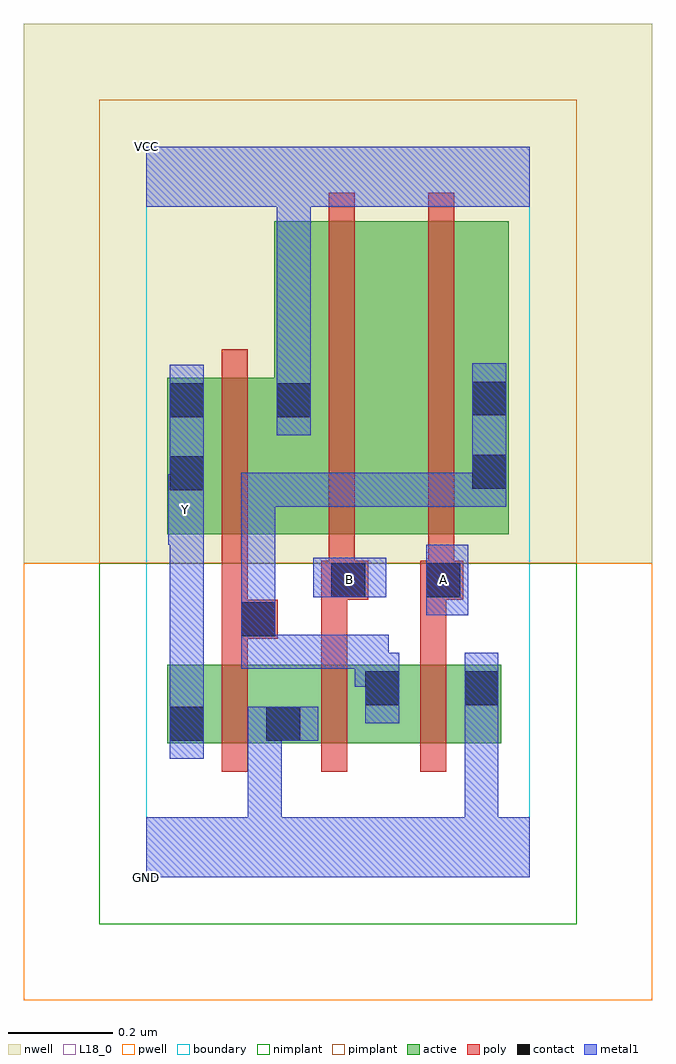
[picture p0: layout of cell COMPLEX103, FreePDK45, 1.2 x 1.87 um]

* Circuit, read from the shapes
.subckt COMPLEX103 A B GND VCC Y
M1 GND n1 Y VSUBS nfet w=0.15u l=0.05u
M2 n1 B GND VSUBS nfet w=0.15u l=0.05u
M3 GND A n1 VSUBS nfet w=0.15u l=0.05u
M4 VCC n1 Y n2 pfet w=0.3u l=0.05u
M5 n3 B VCC n2 pfet w=0.6u l=0.05u
M6 n1 A n3 n2 pfet w=0.6u l=0.05u
.ends

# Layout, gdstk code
import gdstk
lib = gdstk.Library(unit=1e-6, precision=1e-09)
def R(c, l, rs):  # rectangles x0, y0, x1, y1
    for r in rs: c.add(gdstk.rectangle(r[:2], r[2:], *l))
def A(c, l, x, y, w, h, nx, ny, dx, dy):  # array of equal rectangles
    R(c, l, [(x+i*dx, y+j*dy, x+i*dx+w, y+j*dy+h) for i in range(nx) for j in range(ny)])
active = (1, 0)
pwell = (2, 0)
nwell = (3, 0)
nimplant = (4, 0)
pimplant = (5, 0)
poly = (9, 0)
contact = (10, 0)
metal1 = (11, 0)
L18_0 = (18, 0)
boundary = (235, 0)

complex103 = lib.new_cell('COMPLEX103')
R(complex103, active, [(0.04,0.257,0.115,0.407), (0.04,0.257,0.3,0.407), (0.225,0.257,0.49,0.407), (0.225,0.257,0.3,0.397), (0.415,0.257,0.49,0.407), (0.415,0.257,0.68,0.407), (0.605,0.257,0.68,0.407), (0.04,0.657,0.32,0.957), (0.04,0.657,0.115,0.957), (0.245,0.657,0.47,1.257), (0.47,0.657,0.695,1.257), (0.62,0.657,0.695,1.2), (0.245,0.752,0.32,1.095)])
R(complex103, pwell, [(-0.235,-0.235,0.97,0.602)])
R(complex103, nwell, [(-0.235,0.602,0.97,1.635)])
R(complex103, nimplant, [(-0.09,-0.09,0.825,0.602)])
R(complex103, pimplant, [(-0.09,0.602,0.825,1.49)])
A(complex103, poly, 0.145, 0.202, 0.05, 0.26, 3, 1, 0.19, 0)
R(complex103, poly, [(0.145,0.412,0.195,0.507), (0.335,0.412,0.385,0.582), (0.525,0.412,0.575,0.582), (0.145,0.457,0.252,0.532), (0.145,0.482,0.195,0.652), (0.335,0.532,0.425,0.607), (0.525,0.532,0.607,0.607), (0.35,0.557,0.4,0.652), (0.54,0.557,0.59,0.652), (0.145,0.602,0.195,1.012), (0.35,0.602,0.4,1.312), (0.54,0.602,0.59,1.312)])
R(complex103, contact, [(0.045,0.262,0.11,0.327), (0.23,0.262,0.295,0.327), (0.42,0.33,0.485,0.395), (0.61,0.33,0.675,0.395), (0.182,0.462,0.247,0.527), (0.355,0.537,0.42,0.602), (0.537,0.537,0.602,0.602), (0.045,0.742,0.11,0.807), (0.625,0.745,0.69,0.81), (0.045,0.882,0.11,0.947), (0.25,0.882,0.315,0.947), (0.625,0.885,0.69,0.95)])
R(complex103, metal1, [(0,0,0.735,0.115), (0.195,0.05,0.26,0.327), (0.61,0.05,0.675,0.115), (0.61,0.05,0.675,0.115), (0.61,0.05,0.675,0.115), (0.61,0.05,0.675,0.115), (0.61,0.05,0.675,0.36), (0.045,0.227,0.11,0.362), (0.195,0.262,0.26,0.327), (0.195,0.262,0.26,0.327), (0.195,0.262,0.26,0.327), (0.195,0.262,0.26,0.327), (0.195,0.262,0.33,0.327), (0.42,0.295,0.485,0.43), (0.61,0.295,0.675,0.43), (0.045,0.297,0.11,0.702), (0.4,0.365,0.485,0.43), (0.4,0.365,0.465,0.465), (0.182,0.4,0.247,0.465), (0.182,0.4,0.465,0.465), (0.182,0.4,0.247,0.492), (0.182,0.427,0.247,0.492), (0.182,0.427,0.247,0.492), (0.182,0.427,0.247,0.562), (0.182,0.427,0.247,0.775), (0.537,0.502,0.617,0.637), (0.32,0.537,0.46,0.612), (0.042,0.637,0.11,0.772), (0.045,0.707,0.11,0.772), (0.045,0.707,0.11,0.982), (0.182,0.71,0.247,0.775), (0.182,0.71,0.465,0.775), (0.4,0.71,0.465,0.775), (0.4,0.71,0.465,0.775), (0.4,0.71,0.465,0.775), (0.4,0.71,0.69,0.775), (0.625,0.71,0.69,0.775), (0.625,0.71,0.69,0.775), (0.625,0.71,0.69,0.985), (0.25,0.847,0.315,0.982), (0.25,0.917,0.315,1.35), (0,1.285,0.735,1.4)])
R(complex103, L18_0, [(0,0,0.735,0.115), (0.195,0.05,0.26,0.327), (0.61,0.05,0.675,0.115), (0.61,0.05,0.675,0.115), (0.61,0.05,0.675,0.115), (0.61,0.05,0.675,0.115), (0.61,0.05,0.675,0.36), (0.045,0.227,0.11,0.362), (0.195,0.262,0.26,0.327), (0.195,0.262,0.26,0.327), (0.195,0.262,0.26,0.327), (0.195,0.262,0.26,0.327), (0.195,0.262,0.33,0.327), (0.61,0.295,0.675,0.43), (0.045,0.297,0.11,0.702), (0.537,0.502,0.617,0.637), (0.32,0.537,0.46,0.612), (0.357,0.537,0.422,0.602), (0.537,0.537,0.602,0.602), (0.042,0.637,0.11,0.772), (0.042,0.672,0.107,0.737), (0.045,0.707,0.11,0.982), (0.045,0.707,0.11,0.772), (0.25,0.847,0.315,0.982), (0.25,0.917,0.315,1.35), (0,1.285,0.735,1.4)])
R(complex103, boundary, [(0,0,0.735,1.4)])
complex103.add(gdstk.Label('A', (0.57,0.57), layer=11, texttype=0))
complex103.add(gdstk.Label('B', (0.39,0.57), layer=11, texttype=0))
complex103.add(gdstk.Label('Y', (0.075,0.705), layer=11, texttype=0))
complex103.add(gdstk.Label('VCC', (0,1.4), layer=11, texttype=0))
complex103.add(gdstk.Label('GND', (0,0), layer=11, texttype=0))

lib.write_gds('COMPLEX103.gds')
